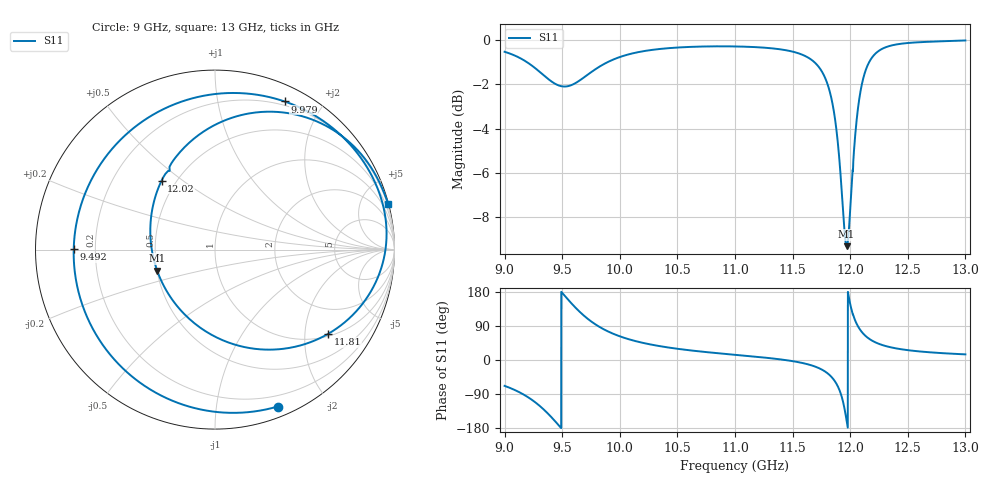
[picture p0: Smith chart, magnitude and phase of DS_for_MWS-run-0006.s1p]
! TOUCHSTONE file generated by CST DESIGN STUDIO
! Date and time: Tue Feb  4 16:15:24 2025
! Project name: C:\Work\MatlabApps\UnitCellOptimizationMatlab\CST\unitcell.cst
! Tree item: Tasks\Sweep1\SPara1\S-Parameters
! Header version: 2024
! Port assignment regex: !\s*Touchstone port\s*([0-9]+)\s*=\s*(CST MWS port|CST DES external port|CST DES block port)\s*(.+)\s* \(\"(.*)\"\)(\s*mode\s*([0-9]+))?.*
! Touchstone port assignment:
! Touchstone port 1 = CST DES external port 1 ("")
# GHz S MA R 50
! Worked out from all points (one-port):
!   4001 points, 9 GHz to 13 GHz, reference 50 ohm
!   lowest |S11| = -9.3 dB at 11.97 GHz (marker M1), VSWR 2.04, Z = 25 - j6.61 ohm
!   |S11| at or under -10 dB: nowhere
!   S11 on the Smith chart (normalised r, x): 9 GHz: 0.10, -1.47; 9.492 GHz: 0.12, +0.00; 9.979 GHz: 0.16, +1.56; 11.81 GHz: 1.07, -2.63; 12.02 GHz: 0.42, +0.42; 13 GHz: 0.05, +7.68
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9  0.9412 -68.3
9.158  0.9038 -89.9
9.272  0.8619 -113.0
9.399  0.8096 -148.6
9.492  0.7872 179.9
9.5  0.7865 177.1
9.613  0.7994 138.9
9.712  0.8324 111.0
9.825  0.8719 87.1
9.979  0.9118 64.9
10  0.916 62.5
10.214  0.9451 44.3
10.5  0.9623 29.6
11  0.9678 13.7
11.5  0.9421 -3.0
11.695  0.889 -17.3
11.81  0.7857 -36.7
11.904  0.5455 -77.3
11.936  0.419 -107.9
11.969  0.3429 -160.1
12  0.4143 147.7
12.016  0.4859 127.8
12.05  0.6372 99.4
12.085  0.7547 80.4
12.199  0.9204 49.6
12.317  0.9656 36.1
12.5  0.9852 26.0
13  0.9984 14.8
